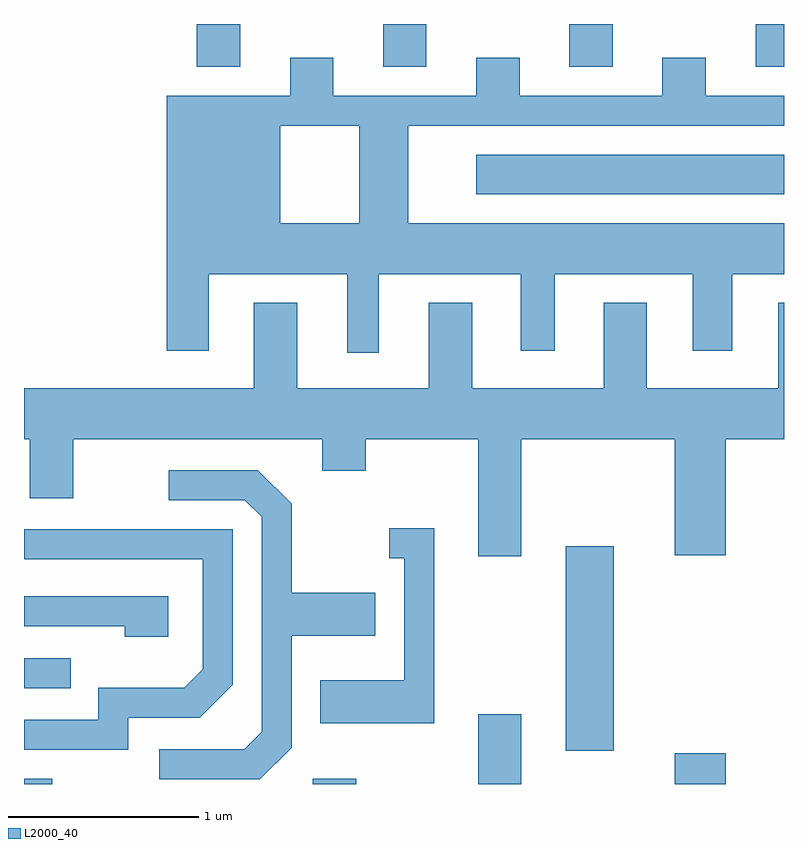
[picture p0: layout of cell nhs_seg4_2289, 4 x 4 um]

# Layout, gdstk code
import gdstk
lib = gdstk.Library(unit=1e-6, precision=1e-09)
def R(c, l, rs):  # rectangles x0, y0, x1, y1
    for r in rs: c.add(gdstk.rectangle(r[:2], r[2:], *l))
def A(c, l, x, y, w, h, nx, ny, dx, dy):  # array of equal rectangles
    R(c, l, [(x+i*dx, y+j*dy, x+i*dx+w, y+j*dy+h) for i in range(nx) for j in range(ny)])
def P(c, l, *ps):  # polygons
    for p in ps: c.add(gdstk.Polygon(p, *l))
L2000_40 = (2000, 40)

nhs_seg4_2289 = lib.new_cell('nhs_seg4_2289')
A(nhs_seg4_2289, L2000_40, 252.521, 1347.756, 0.228, 0.226, 3, 1, 0.98, 0)
R(nhs_seg4_2289, L2000_40, [(251.611,1343.982,251.759,1344.009), (253.131,1343.982,253.359,1344.009), (254.001,1343.982,254.229,1344.349), (255.036,1343.982,255.304,1344.144), (254.461,1344.156,254.714,1345.234), (251.611,1344.486,251.858,1344.644), (253.991,1347.086,255.611,1347.294), (255.461,1347.756,255.611,1347.982)])
P(nhs_seg4_2289, L2000_40, [(252.584,1346.261),(252.584,1346.666),(253.311,1346.666),(253.311,1346.253),(253.479,1346.253),(253.479,1346.666),(254.226,1346.666),(254.226,1346.261),(254.404,1346.261),(254.404,1346.666),(255.131,1346.666),(255.131,1346.261),(255.339,1346.261),(255.339,1346.666),(255.611,1346.666),(255.611,1346.934),(253.634,1346.934),(253.634,1347.446),(255.611,1347.446),(255.611,1347.604),(255.199,1347.604),(255.199,1347.804),(254.971,1347.804),(254.971,1347.604),(254.219,1347.604),(254.219,1347.804),(253.991,1347.804),(253.991,1347.604),(253.239,1347.604),(253.239,1347.804),(253.011,1347.804),(253.011,1347.604),(252.361,1347.604),(252.361,1346.934),(252.959,1346.934),(252.959,1347.446),(253.376,1347.446),(253.376,1346.934),(252.959,1346.934),(252.361,1346.934),(252.361,1346.261)],
  [(254.229,1345.796),(255.036,1345.796),(255.036,1345.186),(255.304,1345.186),(255.304,1345.796),(255.611,1345.796),(255.611,1346.514),(255.581,1346.514),(255.581,1346.064),(254.889,1346.064),(254.889,1346.514),(254.661,1346.514),(254.661,1346.064),(253.969,1346.064),(253.969,1346.514),(253.741,1346.514),(253.741,1346.064),(253.049,1346.064),(253.049,1346.514),(252.821,1346.514),(252.821,1346.064),(251.611,1346.064),(251.611,1345.796),(251.641,1345.796),(251.641,1345.486),(251.869,1345.486),(251.869,1345.796),(253.181,1345.796),(253.181,1345.631),(253.409,1345.631),(253.409,1345.796),(254.001,1345.796),(254.001,1345.181),(254.229,1345.181)],
  [(253.019,1344.174),(253.019,1344.761),(253.459,1344.761),(253.459,1344.989),(253.019,1344.989),(253.019,1345.457),(252.842,1345.634),(252.373,1345.634),(252.373,1345.476),(252.774,1345.476),(252.861,1345.389),(252.861,1344.257),(252.769,1344.164),(252.323,1344.164),(252.323,1344.006),(252.852,1344.006)],
  [(253.769,1345.329),(253.533,1345.329),(253.533,1345.171),(253.611,1345.171),(253.611,1344.529),(253.171,1344.529),(253.171,1344.301),(253.769,1344.301)],
  [(252.159,1344.331),(252.537,1344.331),(252.709,1344.504),(252.709,1345.324),(251.611,1345.324),(251.611,1345.166),(252.551,1345.166),(252.551,1344.587),(252.454,1344.489),(252.001,1344.489),(252.001,1344.319),(251.611,1344.319),(251.611,1344.161),(252.159,1344.161)],
  [(252.369,1344.969),(251.611,1344.969),(251.611,1344.811),(252.141,1344.811),(252.141,1344.756),(252.369,1344.756)])

lib.write_gds('nhs_seg4_2289.gds')
